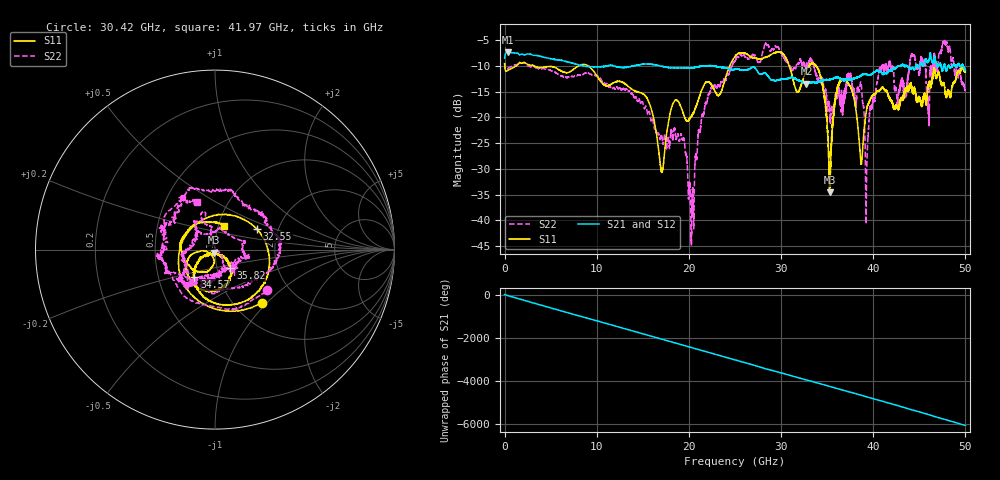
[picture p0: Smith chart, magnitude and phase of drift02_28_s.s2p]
!Created with skrf (http://scikit-rf.org).
# Hz S RI R 50.0
!freq ReS11 ImS11 ReS21 ImS21 ReS12 ImS12 ReS22 ImS22
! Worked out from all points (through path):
!   10001 points, 300 kHz to 50 GHz, reference 50 ohm
!   highest |S21| = -7.32 dB at 335.3 MHz (marker M1); lowest = -13.4 dB at 32.76 GHz (marker M2)
!   group delay of S21, straight-line fit = 335 ps
!   lowest |S11| = -34.6 dB at 35.26 GHz (marker M3), VSWR 1.04, Z = 49.3 - j1.71 ohm
!   |S11| at or under -10 dB: 3.234 GHz to 8.002 GHz (4.768 GHz wide, 84.9 % of centre); 9.105 GHz to 24.41 GHz (15.31 GHz wide, 91.3 % of centre); 33.83 GHz to end of sweep (the widest 3 of 7)
!   |S22| runs from -45.0 to -5.0 dB; largest |S21 - S12| = 0.013
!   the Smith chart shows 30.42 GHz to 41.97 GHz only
!   S11 on the Smith chart (normalised r, x): 30.42 GHz: 1.34, -0.93; 32.55 GHz: 1.55, +0.38; 34.57 GHz: 0.76, -0.24; 35.82 GHz: 1.16, -0.24; 41.97 GHz: 1.06, +0.29
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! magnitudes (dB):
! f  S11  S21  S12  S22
! 300 kHz  -9.6  -8.5  -8.4  -9.4
! 335.3 MHz  -10.9  -7.3  -7.3  -10.5
! 8.335 GHz  -9.7  -9.9  -9.9  -11.6
! 16.67 GHz  -25.8  -9.9  -9.9  -23.1
! 19.31 GHz  -18.8  -10.4  -10.4  -24.5
! 20.35 GHz  -19.6  -10.4  -10.3  -35.6
! 21.94 GHz  -13.1  -10.0  -9.9  -17.1
! 25 GHz  -8.2  -10.6  -10.6  -9.0
! 30.42 GHz  -8.1  -12.5  -12.5  -8.8
! 32.55 GHz  -11.7  -13.2  -13.3  -9.9
! 32.76 GHz  -10.8  -13.4  -13.5  -9.9
! 33.34 GHz  -9.5  -13.1  -13.2  -9.0
! 34.57 GHz  -14.4  -12.8  -12.7  -13.0
! 35.26 GHz  -34.6  -12.6  -12.6  -18.5
! 35.82 GHz  -17.5  -12.2  -12.4  -17.0
! 37.34 GHz  -13.5  -12.5  -12.5  -12.0
! 38.54 GHz  -26.0  -12.0  -12.0  -14.1
! 39.31 GHz  -18.3  -11.6  -11.6  -29.0
! 41.67 GHz  -16.0  -11.0  -11.1  -9.9
! 41.97 GHz  -17.0  -11.0  -10.9  -10.8
! 47.77 GHz  -14.4  -9.8  -9.7  -5.4
! 50 GHz  -11.1  -10.8  -10.8  -14.4
